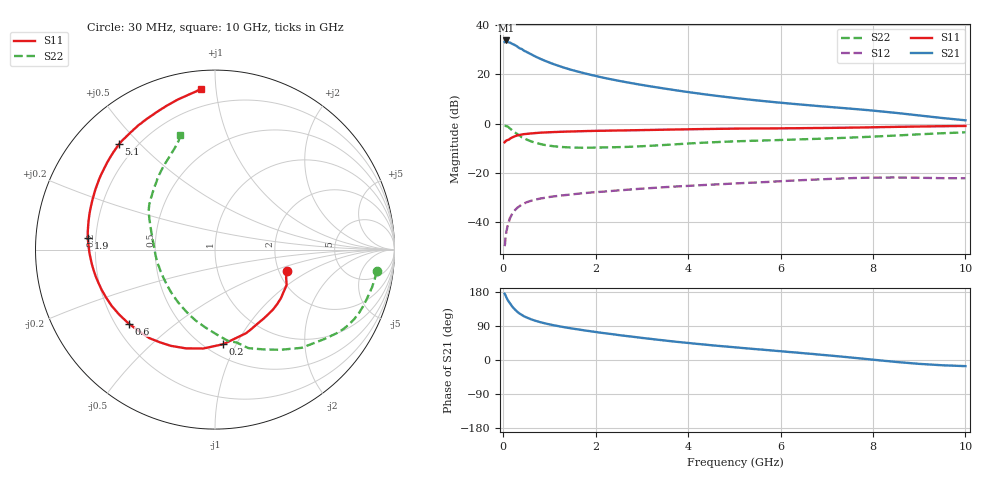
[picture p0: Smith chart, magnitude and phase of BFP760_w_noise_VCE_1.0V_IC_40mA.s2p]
! Infineon Technologies  Discrete & RF Semiconductors
! BFP760
! VCE =  1.0 V,  IC =  40 mA
! Common Emitter S-Parameters:  Nov 2012
# GHz  S  MA  R  50
!  f  S11  S21  S12  S22
! GHz  MAG  ANG  MAG  ANG  MAG  ANG  MAG  ANG
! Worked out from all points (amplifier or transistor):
!   99 points, 30 MHz to 10 GHz, reference 50 ohm
!   highest |S21| = 33.7 dB at 70 MHz (marker M1)
!   |S21| within 3 dB of that: start of sweep to 341.4 MHz
!   unconditionally stable (mu >= 1): 3.387 GHz to end of sweep
!   at 350 MHz: K = 0.32, MSG = 32.0 dB, |S12| = -33.5 dB
!   at 3.5 GHz: K = 1.01, MAG = 19.4 dB, |S12| = -25.7 dB
!   at 10 GHz: K = 1.14, MAG = 9.5 dB, |S12| = -22.1 dB
!   lowest NFmin = 0.92 dB at 900 MHz
!   S11 on the Smith chart (normalised r, x): 30 MHz: 2.21, -0.63; 200 MHz: 0.61, -0.89; 600 MHz: 0.25, -0.35; 1.9 GHz: 0.17, +0.04; 5.1 GHz: 0.14, +0.44; 10 GHz: 0.10, +0.91
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0.03  0.4181 -16.4  45.06 174.8  0.0033 73.2  0.9092 -7.6
0.05  0.4448 -26.2  47.97 170.5  0.0051 63.1  0.9001 -13.4
0.07  0.4563 -36.5  48.42 164.8  0.0067 73.6  0.8883 -18.5
0.09  0.4647 -45.9  47.07 160.0  0.0082 75.8  0.8764 -23.8
0.12  0.4744 -59.1  44.31 154.1  0.0105 68.1  0.8396 -32.0
0.15  0.4972 -69.8  43.77 148.8  0.0124 63.8  0.7923 -38.6
0.2  0.5292 -85.1  41.06 140.3  0.0154 60.2  0.7305 -48.5
0.25  0.555 -96.8  39.23 133.6  0.0175 55.1  0.667 -56.8
0.3  0.5738 -106.5  36.74 127.7  0.0196 52.4  0.6187 -64.0
0.35  0.5901 -114.7  33.79 123.0  0.0212 49.9  0.5802 -71.2
0.45  0.6139 -126.5  30.07 115.3  0.024 46.0  0.5134 -81.9
0.6  0.6335 -139.4  25.53 107.5  0.0274 41.5  0.4384 -96.7
0.8  0.6558 -151.5  20.63 99.9  0.0304 37.7  0.3879 -112.4
1  0.6699 -160.4  17.28 94.0  0.0327 35.6  0.3578 -125.3
1.3  0.6863 -170.6  13.76 87.0  0.0354 33.7  0.335 -140.7
1.7  0.7034 179.2  10.8 79.2  0.0388 32.7  0.3253 -155.9
1.9  0.711 174.9  9.723 75.7  0.0403 32.5  0.326 -162.3
3.4  0.7516 150.2  5.292 52.8  0.051 30.4  0.3661 165.3
5.1  0.794 132.3  3.239 32.6  0.062 26.9  0.4408 146.4
6.7  0.8145 121.1  2.324 15.9  0.0734 22.0  0.4897 133.0
8.5  0.8611 104.0  1.652 -5.1  0.0813 10.7  0.5748 116.4
10  0.8979 95.1  1.169 -16.2  0.0784 6.2  0.6674 107.0
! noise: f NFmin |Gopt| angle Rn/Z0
0.9  0.92  0.23  -166  0.11
1.8  0.94  0.24  -157  0.08
2.4  0.99  0.25  -149  0.08
3.5  1.15  0.25  -138  0.18
5.5  1.38  0.32  -79  0.5
8  1.61  0.47  -57  0.52
